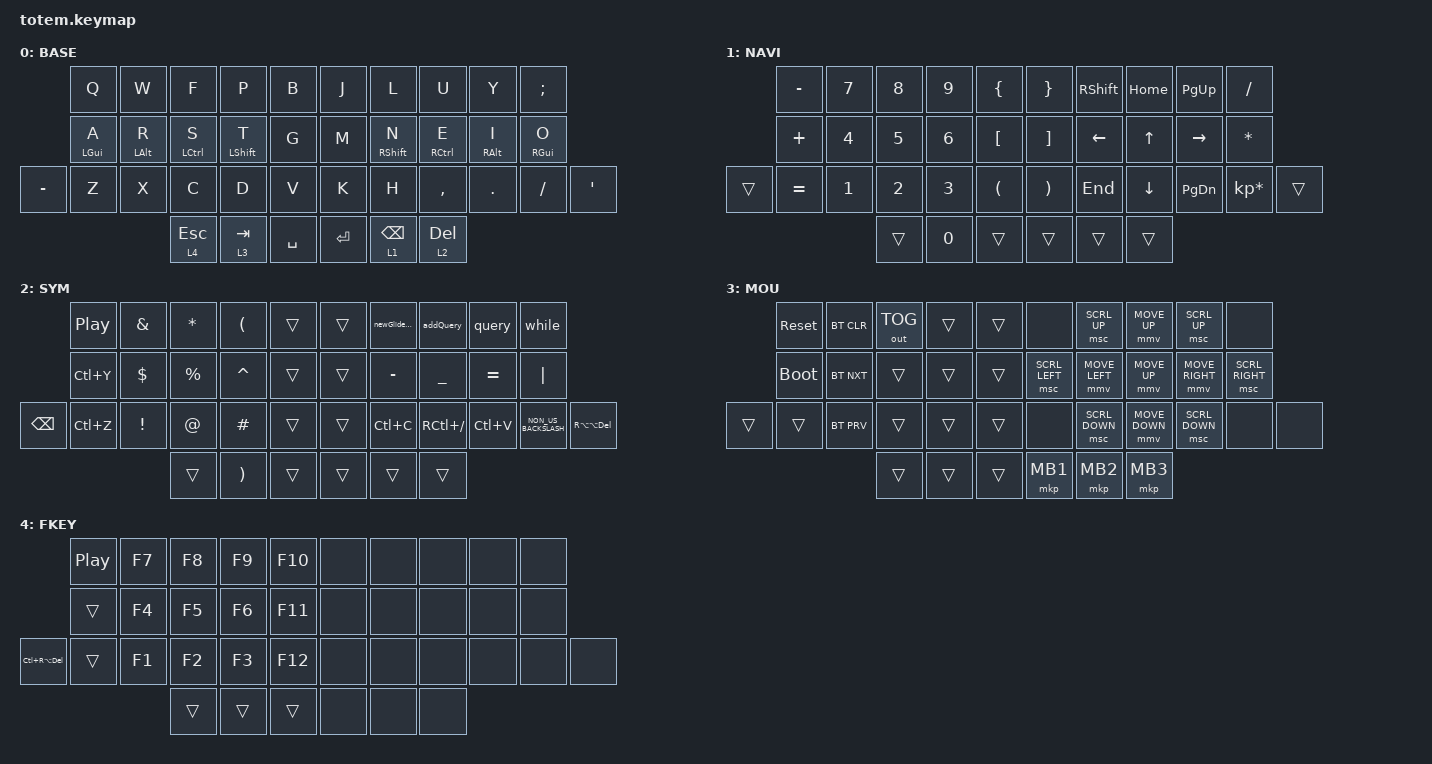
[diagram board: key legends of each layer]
//
//                                                        ▀▀▀▀▀     ▀▀▀▀▀          ▀▀█▀▀
//                                                        ▄▀▀▀▄  ▄  ▄▀▀▀▄  ▄  ▄▀▀▀▄  █  ▄▀▀▀▄
//                                                        █   █  █  █   █  █  █   █  █  █   █
//                                                         ▀▀▀   █   ▀▀▀   █   ▀▀▀   ▀   ▀▀▀
//                                                               █      ▄▄▄█▄▄▄    █   █  
//                                                               ▀      █  █  █     █▄█
//                                                             ▀▀▀▀▀    █  █  █      ▀
//                                                                      ▀  ▀  ▀
//
// ▄▄▄▄▄▄▄▄▄▄▄▄▄▄▄▄▄▄▄▄▄▄▄▄▄▄▄▄▄▄▄▄▄▄▄▄▄▄▄▄▄▄▄▄▄▄▄▄▄▄▄▄▄▄▄▄▄▄▄▄▄▄▄▄▄▄▄▄▄▄▄▄▄▄▄▄▄▄▄▄▄▄▄▄▄▄▄▄▄▄▄▄▄▄▄▄▄▄▄▄▄▄▄▄▄▄▄▄▄▄▄▄▄▄▄▄▄▄▄▄▄▄▄▄▄▄▄▄▄▄▄▄▄▄▄▄▄▄▄▄▄▄▄▄▄▄▄▄▄

#include <behaviors.dtsi>
#include <dt-bindings/zmk/bt.h>
#include <dt-bindings/zmk/keys.h>
#include <dt-bindings/zmk/outputs.h>
#include <dt-bindings/zmk/pointing.h>

#define BASE 0
#define NAV  1
#define SYM  2
#define MOU  3
#define FKEY 4
#define TVP2 5

&mt {
    quick-tap-ms = <100>;
    global-quick-tap;
    flavor = "tap-preferred";
    tapping-term-ms = <170>;
};

/ {
    combos { compatible = "zmk,combos"; };

    macros {
        gif: gif {
            label = "giphy";
            compatible = "zmk,behavior-macro";
            #binding-cells = <0>;
            bindings =
                <&macro_press>,
                <&kp LSHFT>,
                <&macro_tap>,
                <&kp N2>,
                <&macro_release>,
                <&kp LSHFT>,
                <&macro_tap>,
                <&kp G &kp I &kp F>;
        };

        newGlideRecord: newGlideRecord {
            compatible = "zmk,behavior-macro";
            #binding-cells = <0>;
            bindings = <&kp SPACE &kp EQUAL &kp SPACE &kp N &kp E &kp W &kp LS(G) &kp L &kp I &kp D &kp E &kp LS(R) &kp E &kp C &kp O &kp R &kp D &kp LPAR &kp SQT>;
            label = "NEWGLIDERECORD";
        };

        addQuery: addQuery {
            compatible = "zmk,behavior-macro";
            #binding-cells = <0>;
            bindings = <&kp DOT &kp A &kp D &kp D &kp LS(Q) &kp U &kp E &kp R &kp Y &kp LPAR &kp SQT>;
            label = "ADDQUERY";
        };

        query: query {
            compatible = "zmk,behavior-macro";
            #binding-cells = <0>;
            bindings = <&kp DOT &kp Q &kp U &kp E &kp R &kp Y &kp LPAR &kp RPAR &kp SEMI>;
            label = "QUERY";
        };

        while: while {
            compatible = "zmk,behavior-macro";
            #binding-cells = <0>;
            bindings = <&kp W &kp H &kp I &kp L &kp E &kp LPAR &kp G &kp R &kp DOT &kp N &kp E &kp X &kp T &kp LPAR &kp RPAR &kp RPAR &kp LBRC>;
            label = "WHILE";
        };
    };

    keymap {
        compatible = "zmk,keymap";

        // ▄▄▄▄▄▄▄▄▄▄▄▄▄▄▄▄▄▄▄▄▄▄▄▄▄▄▄▄▄▄▄▄▄▄▄▄▄▄▄▄▄▄▄▄▄▄▄▄▄▄▄▄▄▄▄▄▄▄▄▄▄▄▄▄▄▄▄▄▄▄▄▄▄▄▄▄▄▄▄▄▄▄▄▄▄▄▄▄▄▄▄▄▄▄▄▄▄▄▄▄▄▄▄▄▄▄▄▄▄▄▄▄▄▄▄▄▄▄▄▄▄▄▄▄▄▄▄▄▄▄▄▄▄▄▄▄▄▄▄▄▄▄▄▄▄▄▄▄▄

        base_layer {
            // ┏━━━━━━━━━━━━━━━━━━━━━━━━━━━━━━━━━━━━━━━┓

            label = "BASE";

            // ┗━━━━━━━━━━━━━━━━━━━━━━━━━━━━━━━━━━━━━━━┛
            //             ┏━━━━━━━━━━━┳━━━━━━━━━━━┳━━━━━━━━━━━┳━━━━━━━━━━━┳━━━━━━━━━━━┓   ┏━━━━━━━━━━━┳━━━━━━━━━━━┳━━━━━━━━━━━┳━━━━━━━━━━━┳━━━━━━━━━━━┓
            //             ┃     Q     ┃     W     ┃     F     ┃     P     ┃     G     ┃   ┃     J     ┃     L     ┃     U     ┃     Y     ┃     ;     ┃
            //             ┣━━━━━━━━━━━╋━━━━━━━━━━━╋━━━━━━━━━━━╋━━━━━━━━━━━╋━━━━━━━━━━━┫   ┣━━━━━━━━━━━╋━━━━━━━━━━━╋━━━━━━━━━━━╋━━━━━━━━━━━╋━━━━━━━━━━━┫
            //             ┃     A     ┃     R     ┃     S     ┃     T     ┃     D     ┃   ┃     H     ┃     N     ┃     E     ┃     I     ┃     O     ┃
            // ┏━━━━━━━━━━━╋━━━━━━━━━━━╋━━━━━━━━━━━╋━━━━━━━━━━━╋━━━━━━━━━━━╋━━━━━━━━━━━┫   ┣━━━━━━━━━━━╋━━━━━━━━━━━╋━━━━━━━━━━━╋━━━━━━━━━━━╋━━━━━━━━━━━╋━━━━━━━━━━━┓
            // ┃     Q     ┃     Z     ┃     X     ┃     C     ┃     V     ┃     B     ┃   ┃     K     ┃     M     ┃     ,     ┃     .     ┃     /     ┃     \     ┃
            // ┗━━━━━━━━━━━┻━━━━━━━━━━━┻━━━━━━━━━━━╋━━━━━━━━━━━╋━━━━━━━━━━━╋━━━━━━━━━━━┫   ┣━━━━━━━━━━━╋━━━━━━━━━━━╋━━━━━━━━━━━╋━━━━━━━━━━━┻━━━━━━━━━━━┻━━━━━━━━━━━┛
            //                                     ┃    DEL    ┃    TAB    ┃    SPC    ┃   ┃   ENTER   ┃           ┃   BSPC    ┃
            //                                     ┗━━━━━━━━━━━┻━━━━━━━━━━━┻━━━━━━━━━━━┛   ┗━━━━━━━━━━━┻━━━━━━━━━━━┻━━━━━━━━━━━┛

            bindings = <
           &kp Q       &kp W       &kp F         &kp P        &kp B        &kp J    &kp L            &kp U        &kp Y       &kp SEMI
           &mt LGUI A  &mt LALT R  &mt LCTRL S   &mt LSHFT T  &kp G        &kp M    &mt RSHFT N      &mt RCTRL E  &mt RALT I  &mt RGUI O
&kp MINUS  &kp Z       &kp X       &kp C         &kp D        &kp V        &kp K    &kp H            &kp COMMA    &kp DOT     &kp FSLH    &kp SQT
                                   &lt 4 ESCAPE  &lt 3 TAB    &kp SPACE    &kp RET  &lt 1 BACKSPACE  &lt 2 DEL
            >;
        };

        // ▄▄▄▄▄▄▄▄▄▄▄▄▄▄▄▄▄▄▄▄▄▄▄▄▄▄▄▄▄▄▄▄▄▄▄▄▄▄▄▄▄▄▄▄▄▄▄▄▄▄▄▄▄▄▄▄▄▄▄▄▄▄▄▄▄▄▄▄▄▄▄▄▄▄▄▄▄▄▄▄▄▄▄▄▄▄▄▄▄▄▄▄▄▄▄▄▄▄▄▄▄▄▄▄▄▄▄▄▄▄▄▄▄▄▄▄▄▄▄▄▄▄▄▄▄▄▄▄▄▄▄▄▄▄▄▄▄▄▄▄▄▄▄▄▄▄▄▄▄

        nav_layer {
            // ┏━━━━━━━━━━━━━━━━━━━━━━━━━━━━━━━━━━━━━━━┓

            label = "NAVI";

            // ┗━━━━━━━━━━━━━━━━━━━━━━━━━━━━━━━━━━━━━━━┛
            //             ┏━━━━━━━━━━━┳━━━━━━━━━━━┳━━━━━━━━━━━┳━━━━━━━━━━━┳━━━━━━━━━━━┓   ┏━━━━━━━━━━━┳━━━━━━━━━━━┳━━━━━━━━━━━┳━━━━━━━━━━━┳━━━━━━━━━━━┓
            //             ┃           ┃           ┃     UP    ┃           ┃     {     ┃   ┃     }     ┃     7     ┃     8     ┃     9     ┃     +     ┃
            //             ┣━━━━━━━━━━━╋━━━━━━━━━━━╋━━━━━━━━━━━╋━━━━━━━━━━━╋━━━━━━━━━━━┫   ┣━━━━━━━━━━━╋━━━━━━━━━━━╋━━━━━━━━━━━╋━━━━━━━━━━━╋━━━━━━━━━━━┫
            //             ┃   SHIFT   ┃   LEFT    ┃    DOWN   ┃   RIGHT   ┃     [     ┃   ┃     ]     ┃     4     ┃     5     ┃     6     ┃     -     ┃
            // ┏━━━━━━━━━━━╋━━━━━━━━━━━╋━━━━━━━━━━━╋━━━━━━━━━━━╋━━━━━━━━━━━╋━━━━━━━━━━━┫   ┣━━━━━━━━━━━╋━━━━━━━━━━━╋━━━━━━━━━━━╋━━━━━━━━━━━╋━━━━━━━━━━━╋━━━━━━━━━━━┓
            // ┃           ┃           ┃   P UP    ┃  C LOCK   ┃  P DOWN   ┃     (     ┃   ┃     )     ┃     1     ┃     2     ┃     3     ┃     *     ┃           ┃
            // ┗━━━━━━━━━━━┻━━━━━━━━━━━┻━━━━━━━━━━━╋━━━━━━━━━━━╋━━━━━━━━━━━╋━━━━━━━━━━━┫   ┣━━━━━━━━━━━╋━━━━━━━━━━━╋━━━━━━━━━━━╋━━━━━━━━━━━┻━━━━━━━━━━━┻━━━━━━━━━━━┛
            //                                     ┃           ┃    TAB    ┃    SPC    ┃   ┃    DEL    ┃     0     ┃           ┃
            //                                     ┗━━━━━━━━━━━┻━━━━━━━━━━━┻━━━━━━━━━━━┛   ┗━━━━━━━━━━━┻━━━━━━━━━━━┻━━━━━━━━━━━┛

            bindings = <
        &kp MINUS  &kp NUMBER_7  &kp NUMBER_8  &kp NUMBER_9  &kp LBRC    &kp RBRC  &kp RIGHT_SHIFT  &kp HOME        &kp PAGE_UP    &kp SLASH
        &kp PLUS   &kp NUMBER_4  &kp NUMBER_5  &kp NUMBER_6  &kp LBKT    &kp RBKT  &kp LEFT         &kp UP_ARROW    &kp RIGHT      &kp ASTRK
&trans  &kp EQUAL  &kp NUMBER_1  &kp NUMBER_2  &kp NUMBER_3  &kp LPAR    &kp RPAR  &kp END          &kp DOWN_ARROW  &kp PAGE_DOWN  &kp KP_MULTIPLY  &trans
                                 &trans        &kp NUMBER_0  &trans      &trans    &trans           &trans
            >;
        };

        // ▄▄▄▄▄▄▄▄▄▄▄▄▄▄▄▄▄▄▄▄▄▄▄▄▄▄▄▄▄▄▄▄▄▄▄▄▄▄▄▄▄▄▄▄▄▄▄▄▄▄▄▄▄▄▄▄▄▄▄▄▄▄▄▄▄▄▄▄▄▄▄▄▄▄▄▄▄▄▄▄▄▄▄▄▄▄▄▄▄▄▄▄▄▄▄▄▄▄▄▄▄▄▄▄▄▄▄▄▄▄▄▄▄▄▄▄▄▄▄▄▄▄▄▄▄▄▄▄▄▄▄▄▄▄▄▄▄▄▄▄▄▄▄▄▄▄▄▄▄

        sim_layer {
            // ┏━━━━━━━━━━━━━━━━━━━━━━━━━━━━━━━━━━━━━━━┓

            label = "SYM";

            // ┗━━━━━━━━━━━━━━━━━━━━━━━━━━━━━━━━━━━━━━━┛
            //             ┏━━━━━━━━━━━┳━━━━━━━━━━━┳━━━━━━━━━━━┳━━━━━━━━━━━┳━━━━━━━━━━━┓   ┏━━━━━━━━━━━┳━━━━━━━━━━━┳━━━━━━━━━━━┳━━━━━━━━━━━┳━━━━━━━━━━━┓
            //             ┃     !     ┃     @     ┃     #     ┃     $     ┃     %     ┃   ┃     ˆ     ┃     &     ┃     Ü     ┃     '     ┃     "     ┃
            //             ┣━━━━━━━━━━━╋━━━━━━━━━━━╋━━━━━━━━━━━╋━━━━━━━━━━━╋━━━━━━━━━━━┫   ┣━━━━━━━━━━━╋━━━━━━━━━━━╋━━━━━━━━━━━╋━━━━━━━━━━━╋━━━━━━━━━━━┫
            //             ┃     Ä     ┃           ┃    SZ     ┃           ┃           ┃   ┃   MUTE    ┃   YEN     ┃   EURO    ┃  POUND    ┃     Ö     ┃
            // ┏━━━━━━━━━━━╋━━━━━━━━━━━╋━━━━━━━━━━━╋━━━━━━━━━━━╋━━━━━━━━━━━╋━━━━━━━━━━━┫   ┣━━━━━━━━━━━╋━━━━━━━━━━━╋━━━━━━━━━━━╋━━━━━━━━━━━╋━━━━━━━━━━━╋━━━━━━━━━━━┓
            // ┃           ┃  EMAIL1   ┃  EMAIL2   ┃           ┃           ┃           ┃   ┃   VOL-    ┃   VOL+    ┃   LAST    ┃   NEXT    ┃     \     ┃           ┃
            // ┗━━━━━━━━━━━┻━━━━━━━━━━━┻━━━━━━━━━━━╋━━━━━━━━━━━╋━━━━━━━━━━━╋━━━━━━━━━━━┫   ┣━━━━━━━━━━━╋━━━━━━━━━━━╋━━━━━━━━━━━╋━━━━━━━━━━━┻━━━━━━━━━━━┻━━━━━━━━━━━┛
            //                                     ┃           ┃    GIF    ┃    ADJ    ┃   ┃           ┃           ┃           ┃
            //                                     ┗━━━━━━━━━━━┻━━━━━━━━━━━┻━━━━━━━━━━━┛   ┗━━━━━━━━━━━┻━━━━━━━━━━━┻━━━━━━━━━━━┛

            bindings = <
               &kp C_PLAY_PAUSE  &kp AMPERSAND  &kp ASTERISK  &kp LEFT_PARENTHESIS   &trans    &trans  &newGlideRecord  &addQuery       &query     &while
               &kp LC(Y)         &kp DLLR       &kp PERCENT   &kp CARET              &trans    &trans  &kp MINUS        &kp UNDERSCORE  &kp EQUAL  &kp PIPE
&kp BACKSPACE  &kp LC(Z)         &kp EXCL       &kp AT_SIGN   &kp HASH               &trans    &trans  &kp LC(C)        &kp RC(SLASH)   &kp LC(V)  &kp NON_US_BACKSLASH  &kp RA(LA(DEL))
                                                &trans        &kp RIGHT_PARENTHESIS  &trans    &trans  &trans           &trans
            >;
        };

        // ▄▄▄▄▄▄▄▄▄▄▄▄▄▄▄▄▄▄▄▄▄▄▄▄▄▄▄▄▄▄▄▄▄▄▄▄▄▄▄▄▄▄▄▄▄▄▄▄▄▄▄▄▄▄▄▄▄▄▄▄▄▄▄▄▄▄▄▄▄▄▄▄▄▄▄▄▄▄▄▄▄▄▄▄▄▄▄▄▄▄▄▄▄▄▄▄▄▄▄▄▄▄▄▄▄▄▄▄▄▄▄▄▄▄▄▄▄▄▄▄▄▄▄▄▄▄▄▄▄▄▄▄▄▄▄▄▄▄▄▄▄▄▄▄▄▄▄▄▄

        mouse_layer {
            // ┏━━━━━━━━━━━━━━━━━━━━━━━━━━━━━━━━━━━━━━━┓

            label = "MOU";

            // ┗━━━━━━━━━━━━━━━━━━━━━━━━━━━━━━━━━━━━━━━┛
            //             ┏━━━━━━━━━━━┳━━━━━━━━━━━┳━━━━━━━━━━━┳━━━━━━━━━━━┳━━━━━━━━━━━┓   ┏━━━━━━━━━━━┳━━━━━━━━━━━┳━━━━━━━━━━━┳━━━━━━━━━━━┳━━━━━━━━━━━┓
            //             ┃   RESET   ┃ BT CLEAR  ┃  OUT TOG  ┃           ┃           ┃   ┃           ┃    F7     ┃    F8     ┃    F9     ┃    F12    ┃
            //             ┣━━━━━━━━━━━╋━━━━━━━━━━━╋━━━━━━━━━━━╋━━━━━━━━━━━╋━━━━━━━━━━━┫   ┣━━━━━━━━━━━╋━━━━━━━━━━━╋━━━━━━━━━━━╋━━━━━━━━━━━╋━━━━━━━━━━━┫
            //             ┃ BOOTLOAD  ┃ BT NEXT   ┃           ┃           ┃           ┃   ┃           ┃    F4     ┃    F5     ┃    F6     ┃    F11    ┃
            // ┏━━━━━━━━━━━╋━━━━━━━━━━━╋━━━━━━━━━━━╋━━━━━━━━━━━╋━━━━━━━━━━━╋━━━━━━━━━━━┫   ┣━━━━━━━━━━━╋━━━━━━━━━━━╋━━━━━━━━━━━╋━━━━━━━━━━━╋━━━━━━━━━━━╋━━━━━━━━━━━┓
            // ┃           ┃           ┃ BT PREV   ┃           ┃           ┃           ┃   ┃           ┃    F1     ┃    F2     ┃    F3     ┃    F10    ┃           ┃
            // ┗━━━━━━━━━━━┻━━━━━━━━━━━┻━━━━━━━━━━━╋━━━━━━━━━━━╋━━━━━━━━━━━╋━━━━━━━━━━━┫   ┣━━━━━━━━━━━╋━━━━━━━━━━━╋━━━━━━━━━━━╋━━━━━━━━━━━┻━━━━━━━━━━━┻━━━━━━━━━━━┛
            //                                     ┃           ┃           ┃           ┃   ┃           ┃           ┃           ┃
            //                                     ┗━━━━━━━━━━━┻━━━━━━━━━━━┻━━━━━━━━━━━┛   ┗━━━━━━━━━━━┻━━━━━━━━━━━┻━━━━━━━━━━━┛

            bindings = <
        &sys_reset   &bt BT_CLR  &out OUT_TOG  &trans  &trans    &none           &msc SCRL_UP    &mmv MOVE_UP    &msc SCRL_UP     &none
        &bootloader  &bt BT_NXT  &trans        &trans  &trans    &msc SCRL_LEFT  &mmv MOVE_LEFT  &mmv MOVE_UP    &mmv MOVE_RIGHT  &msc SCRL_RIGHT
&trans  &trans       &bt BT_PRV  &trans        &trans  &trans    &none           &msc SCRL_DOWN  &mmv MOVE_DOWN  &msc SCRL_DOWN   &none            &none
                                 &trans        &trans  &trans    &mkp MB1        &mkp MB2        &mkp MB3
            >;
        };

        // ▄▄▄▄▄▄▄▄▄▄▄▄▄▄▄▄▄▄▄▄▄▄▄▄▄▄▄▄▄▄▄▄▄▄▄▄▄▄▄▄▄▄▄▄▄▄▄▄▄▄▄▄▄▄▄▄▄▄▄▄▄▄▄▄▄▄▄▄▄▄▄▄▄▄▄▄▄▄▄▄▄▄▄▄▄▄▄▄▄▄▄▄▄▄▄▄▄▄▄▄▄▄▄▄▄▄▄▄▄▄▄▄▄▄▄▄▄▄▄▄▄▄▄▄▄▄▄▄▄▄▄▄▄▄▄▄▄▄▄▄▄▄▄▄▄▄▄▄▄

        fkeys {
            // ┏━━━━━━━━━━━━━━━━━━━━━━━━━━━━━━━━━━━━━━━┓

            label = "FKEY";

            // ┗━━━━━━━━━━━━━━━━━━━━━━━━━━━━━━━━━━━━━━━┛
            //             ┏━━━━━━━━━━━┳━━━━━━━━━━━┳━━━━━━━━━━━┳━━━━━━━━━━━┳━━━━━━━━━━━┓   ┏━━━━━━━━━━━┳━━━━━━━━━━━┳━━━━━━━━━━━┳━━━━━━━━━━━┳━━━━━━━━━━━┓
            //             ┃ NEXT FILE ┃ MARK IN   ┃ ROTATE    ┃ MARK OUT  ┃ SHOW SNAP ┃   ┃           ┃           ┃           ┃           ┃           ┃
            //             ┣━━━━━━━━━━━╋━━━━━━━━━━━╋━━━━━━━━━━━╋━━━━━━━━━━━╋━━━━━━━━━━━┫   ┣━━━━━━━━━━━╋━━━━━━━━━━━╋━━━━━━━━━━━╋━━━━━━━━━━━╋━━━━━━━━━━━┫
            //             ┃ TVP II    ┃ LEFT      ┃ PAN       ┃ RIGHT     ┃ PLAY/FLIP ┃   ┃           ┃           ┃           ┃           ┃           ┃
            // ┏━━━━━━━━━━━╋━━━━━━━━━━━╋━━━━━━━━━━━╋━━━━━━━━━━━╋━━━━━━━━━━━╋━━━━━━━━━━━┫   ┣━━━━━━━━━━━╋━━━━━━━━━━━╋━━━━━━━━━━━╋━━━━━━━━━━━╋━━━━━━━━━━━╋━━━━━━━━━━━┓
            // ┃ FULLSCR   ┃ SHIFT     ┃ COPY      ┃ DELETE    ┃ PASTE     ┃ IMG MARK  ┃   ┃           ┃           ┃           ┃           ┃           ┃           ┃
            // ┗━━━━━━━━━━━┻━━━━━━━━━━━┻━━━━━━━━━━━╋━━━━━━━━━━━╋━━━━━━━━━━━╋━━━━━━━━━━━┫   ┣━━━━━━━━━━━╋━━━━━━━━━━━╋━━━━━━━━━━━╋━━━━━━━━━━━┻━━━━━━━━━━━┻━━━━━━━━━━━┛
            //                                     ┃           ┃ UNDO/SAVE ┃  SEL/MOV  ┃   ┃           ┃           ┃           ┃
            //                                     ┗━━━━━━━━━━━┻━━━━━━━━━━━┻━━━━━━━━━━━┛   ┗━━━━━━━━━━━┻━━━━━━━━━━━┻━━━━━━━━━━━┛

            bindings = <
                 &kp C_PLAY_PAUSE  &kp F7  &kp F8  &kp F9  &kp F10    &none  &none  &none  &none  &none
                 &trans            &kp F4  &kp F5  &kp F6  &kp F11    &none  &none  &none  &none  &none
&kp LC(RA(DEL))  &trans            &kp F1  &kp F2  &kp F3  &kp F12    &none  &none  &none  &none  &none  &none
                                           &trans  &trans  &trans     &none  &none  &none
            >;
        };

        // ▄▄▄▄▄▄▄▄▄▄▄▄▄▄▄▄▄▄▄▄▄▄▄▄▄▄▄▄▄▄▄▄▄▄▄▄▄▄▄▄▄▄▄▄▄▄▄▄▄▄▄▄▄▄▄▄▄▄▄▄▄▄▄▄▄▄▄▄▄▄▄▄▄▄▄▄▄▄▄▄▄▄▄▄▄▄▄▄▄▄▄▄▄▄▄▄▄▄▄▄▄▄▄▄▄▄▄▄▄▄▄▄▄▄▄▄▄▄▄▄▄▄▄▄▄▄▄▄▄▄▄▄▄▄▄▄▄▄▄▄▄▄▄▄▄▄▄▄▄
    };
};
